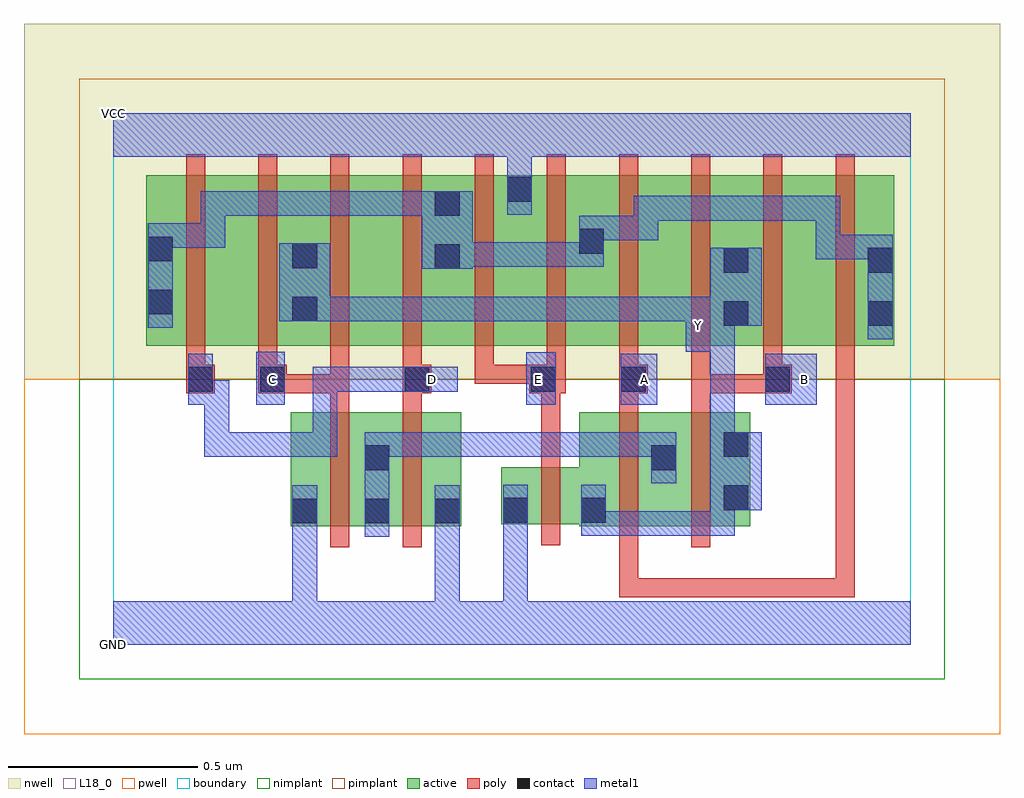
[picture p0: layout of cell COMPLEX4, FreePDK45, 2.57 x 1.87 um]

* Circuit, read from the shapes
.subckt COMPLEX4 A B C D E GND VCC Y
M1 n1 C GND VSUBS nfet w=0.3u l=0.05u
M2 GND D n1 VSUBS nfet w=0.3u l=0.05u
M3 Y E GND VSUBS nfet w=0.15u l=0.05u
M4 n1 A Y VSUBS nfet w=0.3u l=0.05u
M5 Y B n1 VSUBS nfet w=0.3u l=0.05u
M6 n2 D n3 n4 pfet w=0.45u l=0.05u
M7 Y C n2 n4 pfet w=0.45u l=0.05u
M8 n5 C Y n4 pfet w=0.45u l=0.05u
M9 n3 D n5 n4 pfet w=0.45u l=0.05u
M10 VCC E n3 n4 pfet w=0.45u l=0.05u m=2
M11 n6 A n3 n4 pfet w=0.45u l=0.05u
M12 Y B n6 n4 pfet w=0.45u l=0.05u
M13 n7 B Y n4 pfet w=0.45u l=0.05u
M14 n3 A n7 n4 pfet w=0.45u l=0.05u
.ends

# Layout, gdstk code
import gdstk
lib = gdstk.Library(unit=1e-6, precision=1e-09)
def R(c, l, rs):  # rectangles x0, y0, x1, y1
    for r in rs: c.add(gdstk.rectangle(r[:2], r[2:], *l))
def A(c, l, x, y, w, h, nx, ny, dx, dy):  # array of equal rectangles
    R(c, l, [(x+i*dx, y+j*dy, x+i*dx+w, y+j*dy+h) for i in range(nx) for j in range(ny)])
active = (1, 0)
pwell = (2, 0)
nwell = (3, 0)
nimplant = (4, 0)
pimplant = (5, 0)
poly = (9, 0)
contact = (10, 0)
metal1 = (11, 0)
L18_0 = (18, 0)
boundary = (235, 0)

complex4 = lib.new_cell('COMPLEX4')
R(complex4, active, [(0.467,0.312,0.732,0.612), (0.657,0.312,0.917,0.612), (0.657,0.312,0.732,0.53), (0.842,0.312,0.917,0.547), (1.227,0.312,1.487,0.612), (1.227,0.312,1.302,0.392), (1.412,0.312,1.677,0.612), (0.467,0.315,0.542,0.612), (1.022,0.317,1.302,0.467), (1.022,0.317,1.097,0.392), (1.412,0.345,1.487,0.53), (1.602,0.345,1.677,0.612), (0.087,0.787,0.312,1.237), (0.087,0.787,0.192,1.2), (0.312,0.787,0.542,1.237), (0.467,0.787,0.692,1.237), (0.467,0.787,0.542,1.07), (0.692,0.787,0.917,1.237), (0.842,0.787,1.107,1.237), (1.032,0.787,1.297,1.237), (1.222,0.787,1.452,1.237), (1.452,0.787,1.677,1.237), (1.602,0.787,1.832,1.237), (1.602,0.787,1.677,1.07), (1.832,0.787,2.057,1.237), (1.982,0.787,2.057,1.2), (1.222,0.817,1.297,1.2), (0.842,0.857,0.917,1.2), (1.032,0.857,1.107,1.237)])
R(complex4, pwell, [(-0.235,-0.235,2.335,0.7)])
R(complex4, nwell, [(-0.235,0.7,2.335,1.635)])
R(complex4, nimplant, [(-0.09,-0.09,2.19,0.7)])
R(complex4, pimplant, [(-0.09,0.7,2.19,1.49)])
A(complex4, poly, 0.762, 0.687, 0.05, 0.095, 4, 1, 0.19, 0)
A(complex4, poly, 0.192, 0.732, 0.05, 0.56, 10, 1, 0.19, 0)
R(complex4, poly, [(1.332,0.125,1.382,0.175), (1.332,0.125,1.382,0.175), (1.332,0.125,1.382,0.175), (1.332,0.125,1.63,0.175), (1.332,0.125,1.382,0.307), (1.58,0.125,1.63,0.175), (1.58,0.125,1.63,0.175), (1.58,0.125,1.63,0.175), (1.58,0.125,1.777,0.175), (1.727,0.125,1.777,0.175), (1.727,0.125,1.777,0.175), (1.727,0.125,1.777,0.175), (1.727,0.125,1.777,0.175), (1.727,0.125,1.777,0.175), (1.727,0.125,1.952,0.175), (1.902,0.125,1.952,0.782), (1.902,0.125,1.952,0.175), (1.902,0.125,1.952,0.175), (1.902,0.125,1.952,0.175), (1.902,0.125,1.952,0.175), (1.902,0.125,1.952,0.175), (1.902,0.125,1.952,0.175), (1.902,0.125,1.952,0.175), (0.572,0.257,0.622,0.667), (0.762,0.257,0.812,0.667), (1.332,0.257,1.382,0.667), (1.522,0.257,1.572,0.667), (1.127,0.262,1.177,0.522), (1.127,0.472,1.177,0.712), (0.572,0.617,0.622,0.712), (0.762,0.617,0.812,0.712), (1.332,0.617,1.382,0.712), (1.522,0.617,1.572,0.712), (0.192,0.662,0.267,0.737), (0.382,0.662,0.457,0.737), (0.407,0.662,0.622,0.712), (0.572,0.662,0.622,0.712), (0.572,0.662,0.622,0.712), (0.572,0.662,0.622,0.712), (0.572,0.662,0.622,0.782), (0.762,0.662,0.837,0.737), (1.095,0.662,1.192,0.737), (1.332,0.662,1.407,0.737), (1.522,0.662,1.572,0.712), (1.522,0.662,1.572,0.712), (1.522,0.662,1.572,0.712), (1.522,0.662,1.762,0.712), (1.522,0.662,1.572,0.782), (1.712,0.662,1.787,0.737), (0.192,0.687,0.242,0.782), (0.382,0.687,0.432,0.782), (0.952,0.687,1.002,0.737), (0.952,0.687,1.002,0.737), (0.952,0.687,1.002,0.737), (0.952,0.687,1.145,0.737), (1.712,0.687,1.762,0.782)])
R(complex4, contact, [(0.472,0.32,0.537,0.385), (0.662,0.32,0.727,0.385), (0.847,0.32,0.912,0.385), (1.027,0.322,1.092,0.387), (1.232,0.322,1.297,0.387), (1.607,0.355,1.672,0.42), (0.662,0.46,0.727,0.525), (1.417,0.46,1.482,0.525), (1.607,0.495,1.672,0.56), (0.197,0.667,0.262,0.732), (0.387,0.667,0.452,0.732), (0.767,0.667,0.832,0.732), (1.1,0.667,1.165,0.732), (1.337,0.667,1.402,0.732), (1.717,0.667,1.782,0.732), (1.607,0.84,1.672,0.905), (1.987,0.84,2.052,0.905), (0.472,0.852,0.537,0.917), (0.092,0.87,0.157,0.935), (1.607,0.98,1.672,1.045), (1.987,0.98,2.052,1.045), (0.847,0.99,0.912,1.055), (0.472,0.992,0.537,1.057), (0.092,1.01,0.157,1.075), (1.227,1.03,1.292,1.095), (0.847,1.13,0.912,1.195), (1.037,1.167,1.102,1.232)])
R(complex4, metal1, [(0,0,2.1,0.115), (0.472,0.05,0.537,0.35), (0.847,0.05,0.912,0.35), (1.027,0.05,1.092,0.352), (0.472,0.285,0.537,0.35), (0.472,0.285,0.537,0.35), (0.472,0.285,0.537,0.35), (0.472,0.285,0.537,0.35), (0.472,0.285,0.537,0.42), (0.662,0.285,0.727,0.56), (0.847,0.285,0.912,0.35), (0.847,0.285,0.912,0.35), (0.847,0.285,0.912,0.35), (0.847,0.285,0.912,0.35), (0.847,0.285,0.912,0.42), (1.027,0.287,1.092,0.352), (1.027,0.287,1.092,0.352), (1.027,0.287,1.092,0.352), (1.027,0.287,1.092,0.352), (1.027,0.287,1.092,0.352), (1.027,0.287,1.092,0.352), (1.027,0.287,1.092,0.422), (1.232,0.287,1.297,0.352), (1.232,0.287,1.297,0.352), (1.232,0.287,1.435,0.352), (1.232,0.287,1.297,0.422), (1.37,0.287,1.435,0.352), (1.37,0.287,1.435,0.352), (1.37,0.287,1.435,0.352), (1.37,0.287,1.637,0.352), (1.572,0.287,1.637,0.352), (1.572,0.287,1.637,0.42), (1.572,0.355,1.707,0.56), (1.417,0.425,1.482,0.56), (0.24,0.495,0.305,0.56), (0.24,0.495,0.432,0.56), (0.24,0.495,0.305,0.697), (0.367,0.495,0.432,0.56), (0.367,0.495,0.59,0.56), (0.525,0.495,0.59,0.56), (0.525,0.495,0.59,0.732), (0.662,0.495,0.727,0.56), (0.662,0.495,0.727,0.56), (0.662,0.495,0.955,0.56), (0.89,0.495,0.955,0.56), (0.89,0.495,1.015,0.56), (0.95,0.495,1.015,0.56), (0.95,0.495,1.152,0.56), (1.087,0.495,1.152,0.56), (1.087,0.495,1.152,0.56), (1.087,0.495,1.152,0.56), (1.087,0.495,1.29,0.56), (1.225,0.495,1.29,0.56), (1.225,0.495,1.29,0.56), (1.225,0.495,1.29,0.56), (1.225,0.495,1.482,0.56), (1.572,0.495,1.637,0.837), (0.197,0.632,0.262,0.767), (0.197,0.632,0.305,0.697), (0.24,0.632,0.305,0.697), (0.377,0.632,0.452,0.772), (1.087,0.632,1.165,0.77), (1.337,0.632,1.432,0.767), (1.717,0.632,1.852,0.767), (0.525,0.667,0.59,0.732), (0.525,0.667,0.59,0.732), (0.525,0.667,0.59,0.732), (0.525,0.667,0.74,0.732), (0.675,0.667,0.74,0.732), (0.675,0.667,0.797,0.732), (0.732,0.667,0.907,0.732), (1.507,0.772,1.637,0.907), (1.987,0.805,2.052,1.08), (0.092,0.835,0.157,1.11), (1.572,0.84,1.637,0.905), (1.572,0.84,1.707,1.045), (0.437,0.852,0.572,1.057), (0.507,0.852,0.59,0.917), (0.525,0.852,0.59,0.917), (0.525,0.852,0.727,0.917), (0.662,0.852,0.727,0.917), (0.662,0.852,0.877,0.917), (0.812,0.852,0.877,0.917), (0.812,0.852,0.877,0.917), (0.812,0.852,0.877,0.917), (0.812,0.852,1.015,0.917), (0.95,0.852,1.015,0.917), (0.95,0.852,1.152,0.917), (1.087,0.852,1.152,0.917), (1.087,0.852,1.152,0.917), (1.087,0.852,1.152,0.917), (1.087,0.852,1.297,0.917), (1.232,0.852,1.297,0.917), (1.232,0.852,1.297,0.917), (1.232,0.852,1.297,0.917), (1.232,0.852,1.435,0.917), (1.37,0.852,1.435,0.917), (1.37,0.852,1.637,0.917), (1.572,0.852,1.637,0.917), (1.572,0.852,1.637,0.917), (0.812,0.99,0.947,1.195), (0.882,0.995,1.015,1.06), (0.95,0.995,1.015,1.06), (0.95,0.995,1.152,1.06), (1.087,0.995,1.152,1.06), (1.087,0.995,1.152,1.06), (1.087,0.995,1.152,1.06), (1.087,0.995,1.292,1.06), (1.227,0.995,1.292,1.13), (1.85,1.015,1.915,1.08), (1.85,1.015,2.052,1.08), (1.85,1.015,1.915,1.182), (1.987,1.015,2.052,1.08), (1.987,1.015,2.052,1.08), (0.092,1.045,0.157,1.11), (0.092,1.045,0.157,1.11), (0.092,1.045,0.295,1.11), (0.23,1.045,0.295,1.11), (0.23,1.045,0.295,1.195), (1.227,1.065,1.292,1.13), (1.227,1.065,1.292,1.13), (1.227,1.065,1.435,1.13), (1.37,1.065,1.435,1.13), (1.37,1.065,1.435,1.13), (1.37,1.065,1.435,1.182), (1.37,1.117,1.777,1.182), (1.712,1.117,1.777,1.182), (1.712,1.117,1.777,1.182), (1.712,1.117,1.777,1.182), (1.712,1.117,1.915,1.182), (1.85,1.117,1.915,1.182), (0.23,1.13,0.295,1.195), (0.23,1.13,0.452,1.195), (0.387,1.13,0.452,1.195), (0.387,1.13,0.452,1.195), (0.387,1.13,0.452,1.195), (0.387,1.13,0.59,1.195), (0.525,1.13,0.59,1.195), (0.525,1.13,0.74,1.195), (0.675,1.13,0.74,1.195), (0.675,1.13,0.877,1.195), (0.812,1.13,0.877,1.195), (0.812,1.13,0.877,1.195), (1.037,1.132,1.102,1.267), (1.037,1.202,1.102,1.35), (0,1.285,2.1,1.4)])
A(complex4, L18_0, 0.807, 0.667, 0.065, 0.065, 3, 1, 0.28, 0)
R(complex4, L18_0, [(0,0,2.1,0.115), (0.472,0.05,0.537,0.35), (0.847,0.05,0.912,0.35), (1.027,0.05,1.092,0.352), (0.472,0.285,0.537,0.42), (0.472,0.285,0.537,0.35), (0.472,0.285,0.537,0.35), (0.472,0.285,0.537,0.35), (0.472,0.285,0.537,0.35), (0.847,0.285,0.912,0.42), (0.847,0.285,0.912,0.35), (0.847,0.285,0.912,0.35), (0.847,0.285,0.912,0.35), (0.847,0.285,0.912,0.35), (1.027,0.287,1.092,0.422), (1.027,0.287,1.092,0.352), (1.027,0.287,1.092,0.352), (1.027,0.287,1.092,0.352), (1.027,0.287,1.092,0.352), (1.027,0.287,1.092,0.352), (1.027,0.287,1.092,0.352), (1.232,0.287,1.297,0.422), (1.232,0.287,1.297,0.352), (1.232,0.287,1.297,0.352), (1.232,0.287,1.435,0.352), (1.37,0.287,1.435,0.352), (1.37,0.287,1.435,0.352), (1.37,0.287,1.435,0.352), (1.37,0.287,1.637,0.352), (1.572,0.287,1.637,0.352), (1.572,0.287,1.637,0.42), (1.572,0.355,1.707,0.56), (0.24,0.495,0.305,0.56), (0.24,0.495,0.305,0.697), (0.24,0.495,0.432,0.56), (0.367,0.495,0.432,0.56), (0.367,0.495,0.59,0.56), (0.525,0.495,0.59,0.56), (0.525,0.495,0.59,0.732), (1.572,0.495,1.637,0.837), (0.197,0.632,0.262,0.767), (0.197,0.632,0.305,0.697), (0.24,0.632,0.305,0.697), (0.377,0.632,0.452,0.772), (1.087,0.632,1.165,0.77), (1.337,0.632,1.432,0.767), (1.717,0.632,1.852,0.767), (0.387,0.667,0.452,0.732), (0.525,0.667,0.59,0.732), (0.525,0.667,0.59,0.732), (0.525,0.667,0.59,0.732), (0.525,0.667,0.74,0.732), (0.675,0.667,0.74,0.732), (0.675,0.667,0.797,0.732), (0.732,0.667,0.907,0.732), (1.787,0.667,1.852,0.732), (1.507,0.772,1.637,0.907), (1.507,0.807,1.572,0.872), (1.572,0.84,1.637,0.905), (1.572,0.84,1.707,1.045), (0.437,0.852,0.572,1.057), (0.507,0.852,0.59,0.917), (0.525,0.852,0.59,0.917), (0.525,0.852,0.727,0.917), (0.662,0.852,0.727,0.917), (0.662,0.852,0.877,0.917), (0.812,0.852,0.877,0.917), (0.812,0.852,0.877,0.917), (0.812,0.852,0.877,0.917), (0.812,0.852,1.015,0.917), (0.95,0.852,1.015,0.917), (0.95,0.852,1.152,0.917), (1.087,0.852,1.152,0.917), (1.087,0.852,1.152,0.917), (1.087,0.852,1.152,0.917), (1.087,0.852,1.297,0.917), (1.232,0.852,1.297,0.917), (1.232,0.852,1.297,0.917), (1.232,0.852,1.297,0.917), (1.232,0.852,1.435,0.917), (1.37,0.852,1.435,0.917), (1.37,0.852,1.637,0.917), (1.572,0.852,1.637,0.917), (1.572,0.852,1.637,0.917), (1.037,1.132,1.102,1.267), (1.037,1.202,1.102,1.35), (0,1.285,2.1,1.4)])
R(complex4, boundary, [(0,0,2.1,1.4)])
complex4.add(gdstk.Label('A', (1.4,0.7), layer=11, texttype=0))
complex4.add(gdstk.Label('B', (1.82,0.7), layer=11, texttype=0))
complex4.add(gdstk.Label('C', (0.42,0.7), layer=11, texttype=0))
complex4.add(gdstk.Label('D', (0.84,0.7), layer=11, texttype=0))
complex4.add(gdstk.Label('E', (1.12,0.7), layer=11, texttype=0))
complex4.add(gdstk.Label('Y', (1.54,0.84), layer=11, texttype=0))
complex4.add(gdstk.Label('VCC', (0,1.4), layer=11, texttype=0))
complex4.add(gdstk.Label('GND', (0,0), layer=11, texttype=0))

lib.write_gds('COMPLEX4.gds')
